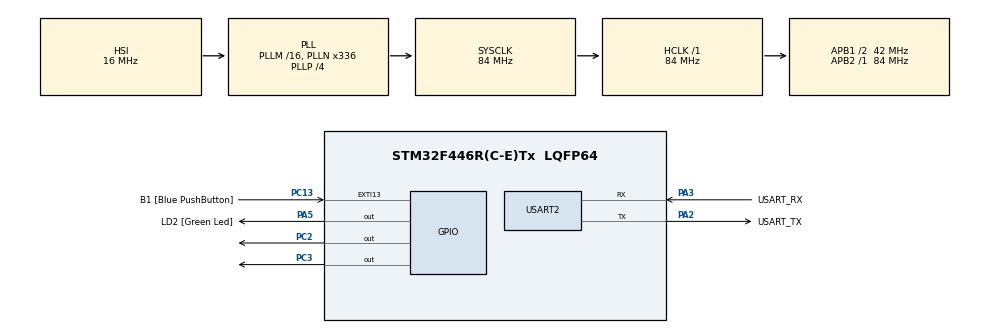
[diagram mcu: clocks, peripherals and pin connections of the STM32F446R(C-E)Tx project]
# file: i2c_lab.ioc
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Mcu.Family=STM32F4
Mcu.Name=STM32F446R(C-E)Tx
Mcu.Package=LQFP64
NVIC.PriorityGroup=NVIC_PRIORITYGROUP_0
PA13.GPIO_Label=TMS
PA13.Mode=Serial_Wire
PA13.Signal=SYS_JTMS-SWDIO
PA14.GPIO_Label=TCK
PA14.Mode=Serial_Wire
PA14.Signal=SYS_JTCK-SWCLK
PA2.GPIO_Label=USART_TX
PA2.Mode=Asynchronous
PA2.Signal=USART2_TX
PA3.GPIO_Label=USART_RX
PA3.Mode=Asynchronous
PA3.Signal=USART2_RX
PA5.GPIO_Label=LD2 [Green Led]
PA5.Signal=GPIO_Output
PB3.GPIO_Label=SWO
PB3.Signal=SYS_JTDO-SWO
PC13.GPIO_Label=B1 [Blue PushButton]
PC13.GPIO_ModeDefaultEXTI=GPIO_MODE_IT_FALLING
PC13.Signal=GPXTI13
PC14-OSC32_IN.Mode=LSE-External-Oscillator
PC14-OSC32_IN.Signal=RCC_OSC32_IN
PC15-OSC32_OUT.Mode=LSE-External-Oscillator
PC15-OSC32_OUT.Signal=RCC_OSC32_OUT
PC2.GPIO_ModeDefaultOutputPP=GPIO_MODE_OUTPUT_OD
PC2.GPIO_PuPd=GPIO_PULLUP
PC2.GPIO_Speed=GPIO_SPEED_FREQ_VERY_HIGH
PC2.Signal=GPIO_Output
PC3.GPIO_ModeDefaultOutputPP=GPIO_MODE_OUTPUT_OD
PC3.GPIO_PuPd=GPIO_PULLUP
PC3.GPIO_Speed=GPIO_SPEED_FREQ_VERY_HIGH
PC3.Signal=GPIO_Output
PH0-OSC_IN.Mode=HSE-External-Oscillator
PH0-OSC_IN.Signal=RCC_OSC_IN
PH1-OSC_OUT.Mode=HSE-External-Oscillator
PH1-OSC_OUT.Signal=RCC_OSC_OUT
ProjectManager.HeapSize=0x200
ProjectManager.StackSize=0x400
ProjectManager.TargetToolchain=STM32CubeIDE
RCC.48MHZClocksFreq_Value=84000000
RCC.AHBFreq_Value=84000000
RCC.APB1CLKDivider=RCC_HCLK_DIV2
RCC.APB1Freq_Value=42000000
RCC.APB1TimFreq_Value=84000000
RCC.APB2Freq_Value=84000000
RCC.APB2TimFreq_Value=84000000
RCC.CortexFreq_Value=84000000
RCC.FLatency-AdvancedSettings=FLASH_LATENCY_2
RCC.HCLKFreq_Value=84000000
RCC.HSE_VALUE=8000000
RCC.HSI_VALUE=16000000
RCC.PLLN=336
RCC.PLLP=RCC_PLLP_DIV4
RCC.SYSCLKFreq_VALUE=84000000
RCC.SYSCLKSource=RCC_SYSCLKSOURCE_PLLCLK
RCC.USBFreq_Value=168000000
RCC.VCOOutputFreq_Value=336000000
USART2.VirtualMode=VM_ASYNC
board=NUCLEO-F446RE

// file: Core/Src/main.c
/* USER CODE BEGIN Header */
/**
  ******************************************************************************
  * @file           : main.c
  * @brief          : Main program body
  ******************************************************************************
  * @attention
  *
  * Copyright (c) 2026 STMicroelectronics.
  * All rights reserved.
  *
  * This software is licensed under terms that can be found in the LICENSE file
  * in the root directory of this software component.
  * If no LICENSE file comes with this software, it is provided AS-IS.
  *
  ******************************************************************************
  */
/* USER CODE END Header */
#include "main.h"

/* USER CODE BEGIN Includes */
#include <stdio.h>
/* USER CODE END Includes */

/* USER CODE BEGIN PD */
#define SDA_PIN GPIO_PIN_2
#define SCL_PIN GPIO_PIN_3

#define SDA_HIGH HAL_GPIO_WritePin(GPIOC, SDA_PIN, GPIO_PIN_SET)
#define SDA_LOW HAL_GPIO_WritePin(GPIOC, SDA_PIN, GPIO_PIN_RESET)

#define SCL_HIGH HAL_GPIO_WritePin(GPIOC, SCL_PIN, GPIO_PIN_SET)
#define SCL_LOW HAL_GPIO_WritePin(GPIOC, SCL_PIN, GPIO_PIN_RESET)
/* USER CODE END PD */

UART_HandleTypeDef huart2;

/* USER CODE BEGIN PV */
const char msg[] = "Embedded";
uint8_t address = 0x2E;
/* USER CODE END PV */

void SystemClock_Config(void);
static void MX_GPIO_Init(void);
static void MX_USART2_UART_Init(void);

/* USER CODE BEGIN 0 */
void delay_cycles(volatile uint32_t count ){
	count=count*100;
	while (count--){
		__NOP(); // no operation
	}
}

void I2C_Start(void) { // SDA goes LOW then SCL goes LOW
    SDA_HIGH;
    SCL_HIGH;
    delay_cycles(5);
    SDA_LOW;
    delay_cycles(5);
    SCL_LOW;
    delay_cycles(5);
}

void I2C_Stop(void) { // SDA goes HIGH while SCL is HIGh
    SDA_LOW;
    delay_cycles(5);
    SCL_HIGH;
    delay_cycles(5);
    SDA_HIGH;
    delay_cycles(5);
}

void I2C_Write(uint8_t byte) {

	for(int i = 7; i >= 0; i--) {
		if ((byte >>  i) & 0x01) {
			SDA_HIGH;
		} else {
			SDA_LOW;
		}
		// Pulse SCL once
		delay_cycles(5);

		SCL_HIGH;
		delay_cycles(5);

		SCL_LOW;
		delay_cycles(5);

	}

    // NACK bit
    SDA_HIGH;
    delay_cycles(5);

    SCL_HIGH;
    delay_cycles(5);

    //uint8_t ack = (HAL_GPIO_ReadPin(GPIOC, SDA_PIN) == GPIO_PIN_RESET)? 1 : 0;

	SCL_LOW;
	delay_cycles(5);

}

void I2C_Address(uint8_t address, uint8_t rw_bit) {
    // Left-shift 7-bit address and insert R/W in LSB position
    uint8_t addr_byte = (address << 1) | (rw_bit & 0x01);

    I2C_Write(addr_byte);
}

/* USER CODE END 0 */

int main(void)
{

  /* MCU Configuration--------------------------------------------------------*/

  /* Reset of all peripherals, Initializes the Flash interface and the Systick. */
  HAL_Init();

  /* Configure the system clock */
  SystemClock_Config();

  /* Initialize all configured peripherals */
  MX_GPIO_Init();
  MX_USART2_UART_Init();

  /* Infinite loop */
  while (1)
  {
	  I2C_Start();
	  I2C_Address(address, 0);
	  for (int i = 0; msg[i] != '\0'; i++) {
	            I2C_Write((uint8_t)msg[i]);
	        }
	  I2C_Stop();
	  HAL_Delay(500);
  }
}

void SystemClock_Config(void)
{
  RCC_OscInitTypeDef RCC_OscInitStruct = {0};
  RCC_ClkInitTypeDef RCC_ClkInitStruct = {0};

  /** Configure the main internal regulator output voltage
  */
  __HAL_RCC_PWR_CLK_ENABLE();
  __HAL_PWR_VOLTAGESCALING_CONFIG(PWR_REGULATOR_VOLTAGE_SCALE3);

  /** Initializes the RCC Oscillators according to the specified parameters
  * in the RCC_OscInitTypeDef structure.
  */
  RCC_OscInitStruct.OscillatorType = RCC_OSCILLATORTYPE_HSI;
  RCC_OscInitStruct.HSIState = RCC_HSI_ON;
  RCC_OscInitStruct.HSICalibrationValue = RCC_HSICALIBRATION_DEFAULT;
  RCC_OscInitStruct.PLL.PLLState = RCC_PLL_ON;
  RCC_OscInitStruct.PLL.PLLSource = RCC_PLLSOURCE_HSI;
  RCC_OscInitStruct.PLL.PLLM = 16;
  RCC_OscInitStruct.PLL.PLLN = 336;
  RCC_OscInitStruct.PLL.PLLP = RCC_PLLP_DIV4;
  RCC_OscInitStruct.PLL.PLLQ = 2;
  RCC_OscInitStruct.PLL.PLLR = 2;
  if (HAL_RCC_OscConfig(&RCC_OscInitStruct) != HAL_OK)
  {
    Error_Handler();
  }

  /** Initializes the CPU, AHB and APB buses clocks
  */
  RCC_ClkInitStruct.ClockType = RCC_CLOCKTYPE_HCLK|RCC_CLOCKTYPE_SYSCLK
                              |RCC_CLOCKTYPE_PCLK1|RCC_CLOCKTYPE_PCLK2;
  RCC_ClkInitStruct.SYSCLKSource = RCC_SYSCLKSOURCE_PLLCLK;
  RCC_ClkInitStruct.AHBCLKDivider = RCC_SYSCLK_DIV1;
  RCC_ClkInitStruct.APB1CLKDivider = RCC_HCLK_DIV2;
  RCC_ClkInitStruct.APB2CLKDivider = RCC_HCLK_DIV1;

  if (HAL_RCC_ClockConfig(&RCC_ClkInitStruct, FLASH_LATENCY_2) != HAL_OK)
  {
    Error_Handler();
  }
}

static void MX_USART2_UART_Init(void)
{

  huart2.Instance = USART2;
  huart2.Init.BaudRate = 115200;
  huart2.Init.WordLength = UART_WORDLENGTH_8B;
  huart2.Init.StopBits = UART_STOPBITS_1;
  huart2.Init.Parity = UART_PARITY_NONE;
  huart2.Init.Mode = UART_MODE_TX_RX;
  huart2.Init.HwFlowCtl = UART_HWCONTROL_NONE;
  huart2.Init.OverSampling = UART_OVERSAMPLING_16;
  if (HAL_UART_Init(&huart2) != HAL_OK)
  {
    Error_Handler();
  }

}

static void MX_GPIO_Init(void)
{
  GPIO_InitTypeDef GPIO_InitStruct = {0};

  /* GPIO Ports Clock Enable */
  __HAL_RCC_GPIOC_CLK_ENABLE();
  __HAL_RCC_GPIOH_CLK_ENABLE();
  __HAL_RCC_GPIOA_CLK_ENABLE();
  __HAL_RCC_GPIOB_CLK_ENABLE();

  /*Configure GPIO pin Output Level */
  HAL_GPIO_WritePin(GPIOC, GPIO_PIN_2|GPIO_PIN_3, GPIO_PIN_RESET);

  /*Configure GPIO pin Output Level */
  HAL_GPIO_WritePin(LD2_GPIO_Port, LD2_Pin, GPIO_PIN_RESET);

  /*Configure GPIO pin : B1_Pin */
  GPIO_InitStruct.Pin = B1_Pin;
  GPIO_InitStruct.Mode = GPIO_MODE_IT_FALLING;
  GPIO_InitStruct.Pull = GPIO_NOPULL;
  HAL_GPIO_Init(B1_GPIO_Port, &GPIO_InitStruct);

  /*Configure GPIO pins : PC2 PC3 */
  GPIO_InitStruct.Pin = GPIO_PIN_2|GPIO_PIN_3;
  GPIO_InitStruct.Mode = GPIO_MODE_OUTPUT_OD;
  GPIO_InitStruct.Pull = GPIO_PULLUP;
  GPIO_InitStruct.Speed = GPIO_SPEED_FREQ_VERY_HIGH;
  HAL_GPIO_Init(GPIOC, &GPIO_InitStruct);

  /*Configure GPIO pin : LD2_Pin */
  GPIO_InitStruct.Pin = LD2_Pin;
  GPIO_InitStruct.Mode = GPIO_MODE_OUTPUT_PP;
  GPIO_InitStruct.Pull = GPIO_NOPULL;
  GPIO_InitStruct.Speed = GPIO_SPEED_FREQ_LOW;
  HAL_GPIO_Init(LD2_GPIO_Port, &GPIO_InitStruct);

}

void Error_Handler(void)
{
  __disable_irq();
  while (1)
  {
  }
}
